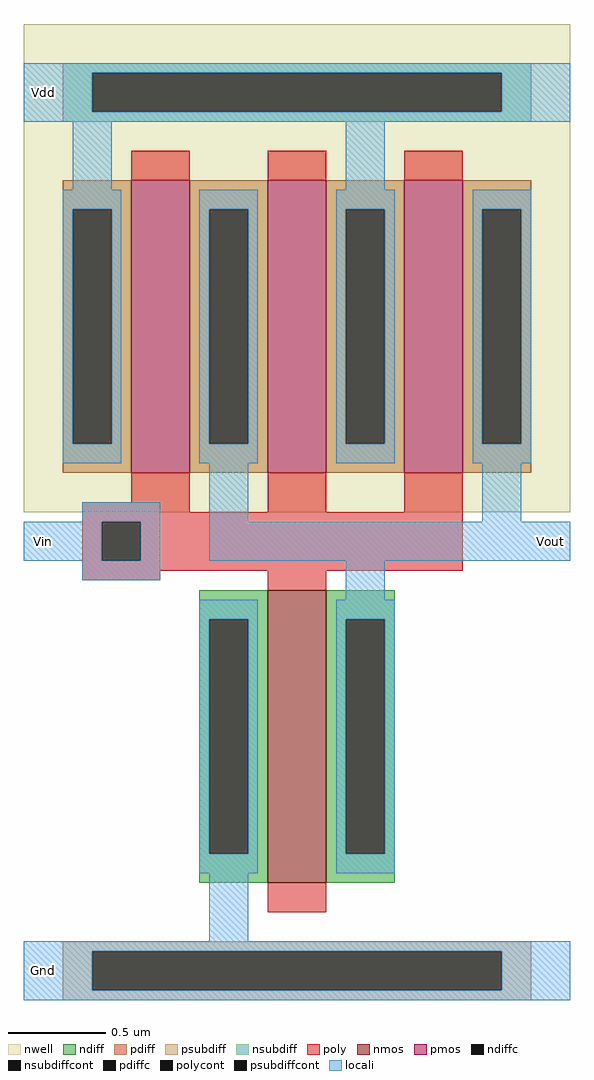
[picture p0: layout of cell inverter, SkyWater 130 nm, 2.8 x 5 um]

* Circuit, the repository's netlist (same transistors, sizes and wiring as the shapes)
* NGSPICE file created from inverter.ext - technology: sky130A

.subckt inverter
X0 Vdd Vin Vout Vdd sky130_fd_pr__pfet_01v8 ad=0.3 pd=1.9 as=0.3 ps=1.9 w=1.5 l=0.3
X1 Vout Vin Gnd Gnd sky130_fd_pr__nfet_01v8 ad=0.525 pd=3.7 as=0.525 ps=3.7 w=1.5 l=0.3
X2 Vout Vin Vdd Vdd sky130_fd_pr__pfet_01v8 ad=0.3 pd=1.9 as=0.525 ps=3.7 w=1.5 l=0.3
X3 Vout Vin Vdd Vdd sky130_fd_pr__pfet_01v8 ad=0.525 pd=3.7 as=0.3 ps=1.9 w=1.5 l=0.3
.ends

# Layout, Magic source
magic
tech sky130A
<< nwell >>
rect 0 250 280 500
<< nmos >>
rect 125 60 155 210
<< pmos >>
rect 55 270 85 420
rect 125 270 155 420
rect 195 270 225 420
<< ndiff >>
rect 90 195 125 210
rect 90 75 95 195
rect 115 75 125 195
rect 90 60 125 75
rect 155 195 190 210
rect 155 75 165 195
rect 185 75 190 195
rect 155 60 190 75
<< pdiff >>
rect 20 405 55 420
rect 20 285 25 405
rect 45 285 55 405
rect 20 270 55 285
rect 85 405 125 420
rect 85 285 95 405
rect 115 285 125 405
rect 85 270 125 285
rect 155 405 195 420
rect 155 285 165 405
rect 185 285 195 405
rect 155 270 195 285
rect 225 405 260 420
rect 225 285 235 405
rect 255 285 260 405
rect 225 270 260 285
<< ndiffc >>
rect 95 75 115 195
rect 165 75 185 195
<< pdiffc >>
rect 25 285 45 405
rect 95 285 115 405
rect 165 285 185 405
rect 235 285 255 405
<< psubdiff >>
rect 20 25 260 30
rect 20 5 35 25
rect 245 5 260 25
rect 20 0 260 5
<< nsubdiff >>
rect 20 475 260 480
rect 20 455 35 475
rect 245 455 260 475
rect 20 450 260 455
<< psubdiffcont >>
rect 35 5 245 25
<< nsubdiffcont >>
rect 35 455 245 475
<< poly >>
rect 55 420 85 435
rect 125 420 155 435
rect 195 420 225 435
rect 55 255 85 270
rect 30 250 85 255
rect 125 250 155 270
rect 195 250 225 270
rect 30 245 225 250
rect 30 225 40 245
rect 60 225 225 245
rect 30 220 225 225
rect 30 215 70 220
rect 125 210 155 220
rect 125 45 155 60
<< polycont >>
rect 40 225 60 245
<< locali >>
rect 0 475 280 480
rect 0 455 35 475
rect 245 455 280 475
rect 0 450 280 455
rect 25 415 45 450
rect 165 415 185 450
rect 20 405 50 415
rect 20 285 25 405
rect 45 285 50 405
rect 20 275 50 285
rect 90 405 120 415
rect 90 285 95 405
rect 115 285 120 405
rect 90 275 120 285
rect 160 405 190 415
rect 160 285 165 405
rect 185 285 190 405
rect 160 275 190 285
rect 230 405 260 415
rect 230 285 235 405
rect 255 285 260 405
rect 230 275 260 285
rect 30 245 70 255
rect 0 225 40 245
rect 60 225 70 245
rect 95 245 115 275
rect 235 245 255 275
rect 95 225 280 245
rect 30 215 70 225
rect 165 205 185 225
rect 90 195 120 205
rect 90 75 95 195
rect 115 75 120 195
rect 90 65 120 75
rect 160 195 190 205
rect 160 75 165 195
rect 185 75 190 195
rect 160 65 190 75
rect 95 30 115 65
rect 0 25 280 30
rect 0 5 35 25
rect 245 5 280 25
rect 0 0 280 5
<< labels >>
rlabel locali 260 225 280 245 3 Vout
rlabel locali 0 225 20 245 7 Vin
rlabel locali 0 5 20 25 5 Gnd
rlabel locali 0 455 20 475 1 Vdd
<< end >>
